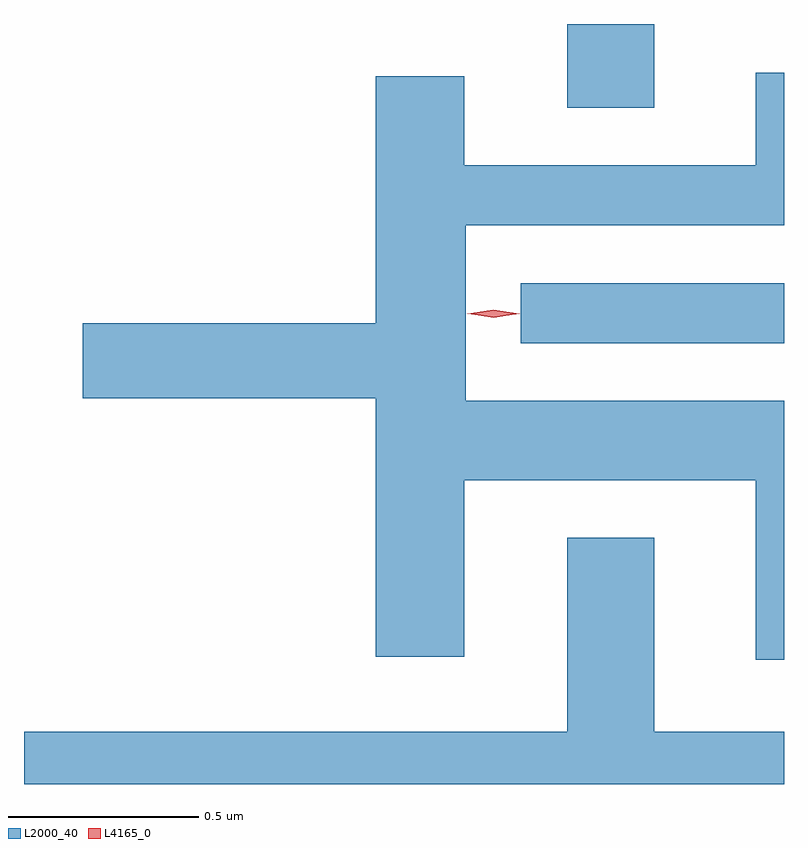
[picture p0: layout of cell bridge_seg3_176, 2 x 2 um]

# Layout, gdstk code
import gdstk
lib = gdstk.Library(unit=1e-6, precision=1e-09)
def R(c, l, rs):  # rectangles x0, y0, x1, y1
    for r in rs: c.add(gdstk.rectangle(r[:2], r[2:], *l))
def P(c, l, *ps):  # polygons
    for p in ps: c.add(gdstk.Polygon(p, *l))
L2000_40 = (2000, 40)
L4165_0 = (4165, 0)

bridge_seg3_176 = lib.new_cell('bridge_seg3_176')
R(bridge_seg3_176, L2000_40, [(900.918,1231.646,901.611,1231.804), (901.041,1232.266,901.269,1232.486)])
P(bridge_seg3_176, L2000_40, [(901.611,1231.494),(900.774,1231.494),(900.774,1231.956),(901.611,1231.956),(901.611,1232.358),(901.536,1232.358),(901.536,1232.114),(900.769,1232.114),(900.769,1232.349),(900.536,1232.349),(900.536,1231.699),(899.766,1231.699),(899.766,1231.501),(900.536,1231.501),(900.536,1230.821),(900.769,1230.821),(900.769,1231.286),(901.536,1231.286),(901.536,1230.813),(901.611,1230.813)],
  [(901.611,1230.624),(901.269,1230.624),(901.269,1231.134),(901.041,1231.134),(901.041,1230.624),(899.611,1230.624),(899.611,1230.486),(901.611,1230.486)])
P(bridge_seg3_176, L4165_0, [(900.847,1231.714),(900.778,1231.723),(900.777,1231.723),(900.778,1231.724),(900.846,1231.734),(900.916,1231.724),(900.916,1231.724),(900.916,1231.723)],
  [(900.847,1231.713),(900.782,1231.723),(900.782,1231.723),(900.782,1231.724),(900.847,1231.733),(900.912,1231.724),(900.913,1231.723),(900.912,1231.723)])

lib.write_gds('bridge_seg3_176.gds')
